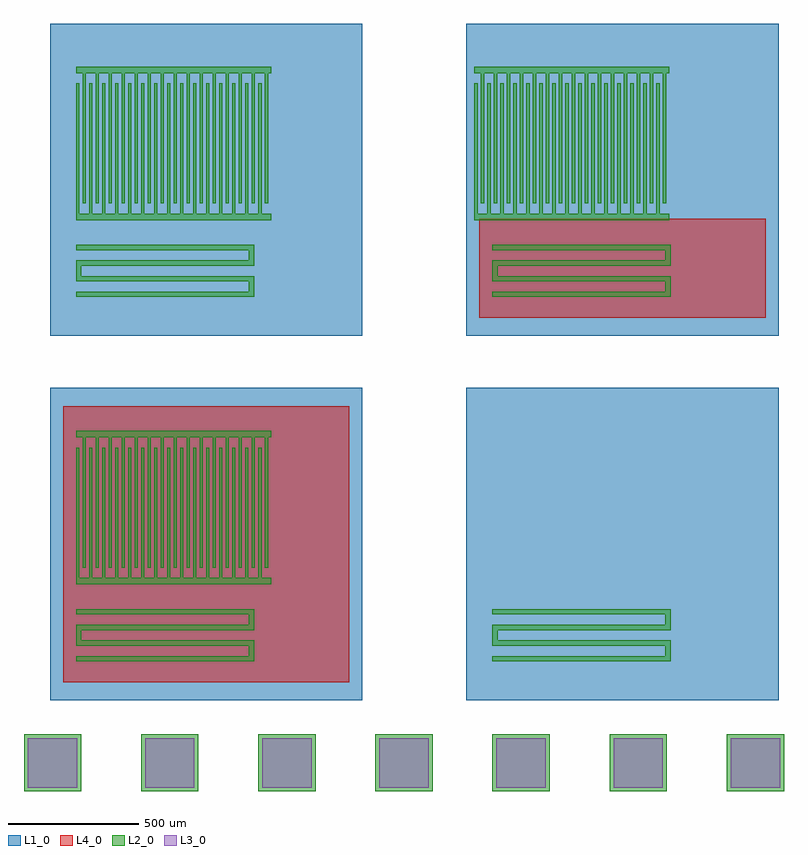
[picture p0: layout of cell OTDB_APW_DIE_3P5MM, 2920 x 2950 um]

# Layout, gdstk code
import gdstk
lib = gdstk.Library(unit=1e-6, precision=1e-09)
def R(c, l, rs):  # rectangles x0, y0, x1, y1
    for r in rs: c.add(gdstk.rectangle(r[:2], r[2:], *l))
def A(c, l, x, y, w, h, nx, ny, dx, dy):  # array of equal rectangles
    R(c, l, [(x+i*dx, y+j*dy, x+i*dx+w, y+j*dy+h) for i in range(nx) for j in range(ny)])
L1_0 = (1, 0)
L2_0 = (2, 0)
L3_0 = (3, 0)
L4_0 = (4, 0)

otdb_apw_die_3p5mm = lib.new_cell('OTDB_APW_DIE_3P5MM')
R(otdb_apw_die_3p5mm, L1_0, [(350,450,1550,1650), (1950,450,3150,1650), (350,1850,1550,3050), (1950,1850,3150,3050)])
A(otdb_apw_die_3p5mm, L2_0, 250, 100, 220, 220, 7, 1, 450, 0)
A(otdb_apw_die_3p5mm, L2_0, 450, 600, 684.285, 20, 1, 4, 0, 60)
A(otdb_apw_die_3p5mm, L2_0, 2050, 600, 684.285, 20, 1, 4, 0, 60)
A(otdb_apw_die_3p5mm, L2_0, 450, 920, 12.5, 500, 15, 2, 50, 1400)
A(otdb_apw_die_3p5mm, L2_0, 475, 960, 12.5, 500, 15, 2, 50, 1400)
A(otdb_apw_die_3p5mm, L2_0, 450, 2000, 684.285, 20, 1, 4, 0, 60)
A(otdb_apw_die_3p5mm, L2_0, 2050, 2000, 684.285, 20, 1, 4, 0, 60)
A(otdb_apw_die_3p5mm, L2_0, 1980, 2320, 12.5, 500, 15, 1, 50, 0)
A(otdb_apw_die_3p5mm, L2_0, 2005, 2360, 12.5, 500, 15, 1, 50, 0)
R(otdb_apw_die_3p5mm, L2_0, [(1114.285,620,1134.285,660), (2714.285,620,2734.285,660), (450,680,470,720), (2050,680,2070,720), (1114.285,740,1134.285,780), (2714.285,740,2734.285,780), (450,895,1200,920), (450,1460,1200,1485), (1114.285,2020,1134.285,2060), (2714.285,2020,2734.285,2060), (450,2080,470,2120), (2050,2080,2070,2120), (1114.285,2140,1134.285,2180), (2714.285,2140,2734.285,2180), (450,2295,1200,2320), (1980,2295,2730,2320), (450,2860,1200,2885), (1980,2860,2730,2885)])
A(otdb_apw_die_3p5mm, L3_0, 265, 115, 190, 190, 7, 1, 450, 0)
R(otdb_apw_die_3p5mm, L4_0, [(400,520,1500,1580), (2000,1920,3100,2300)])

lib.write_gds('OTDB_APW_DIE_3P5MM.gds')
